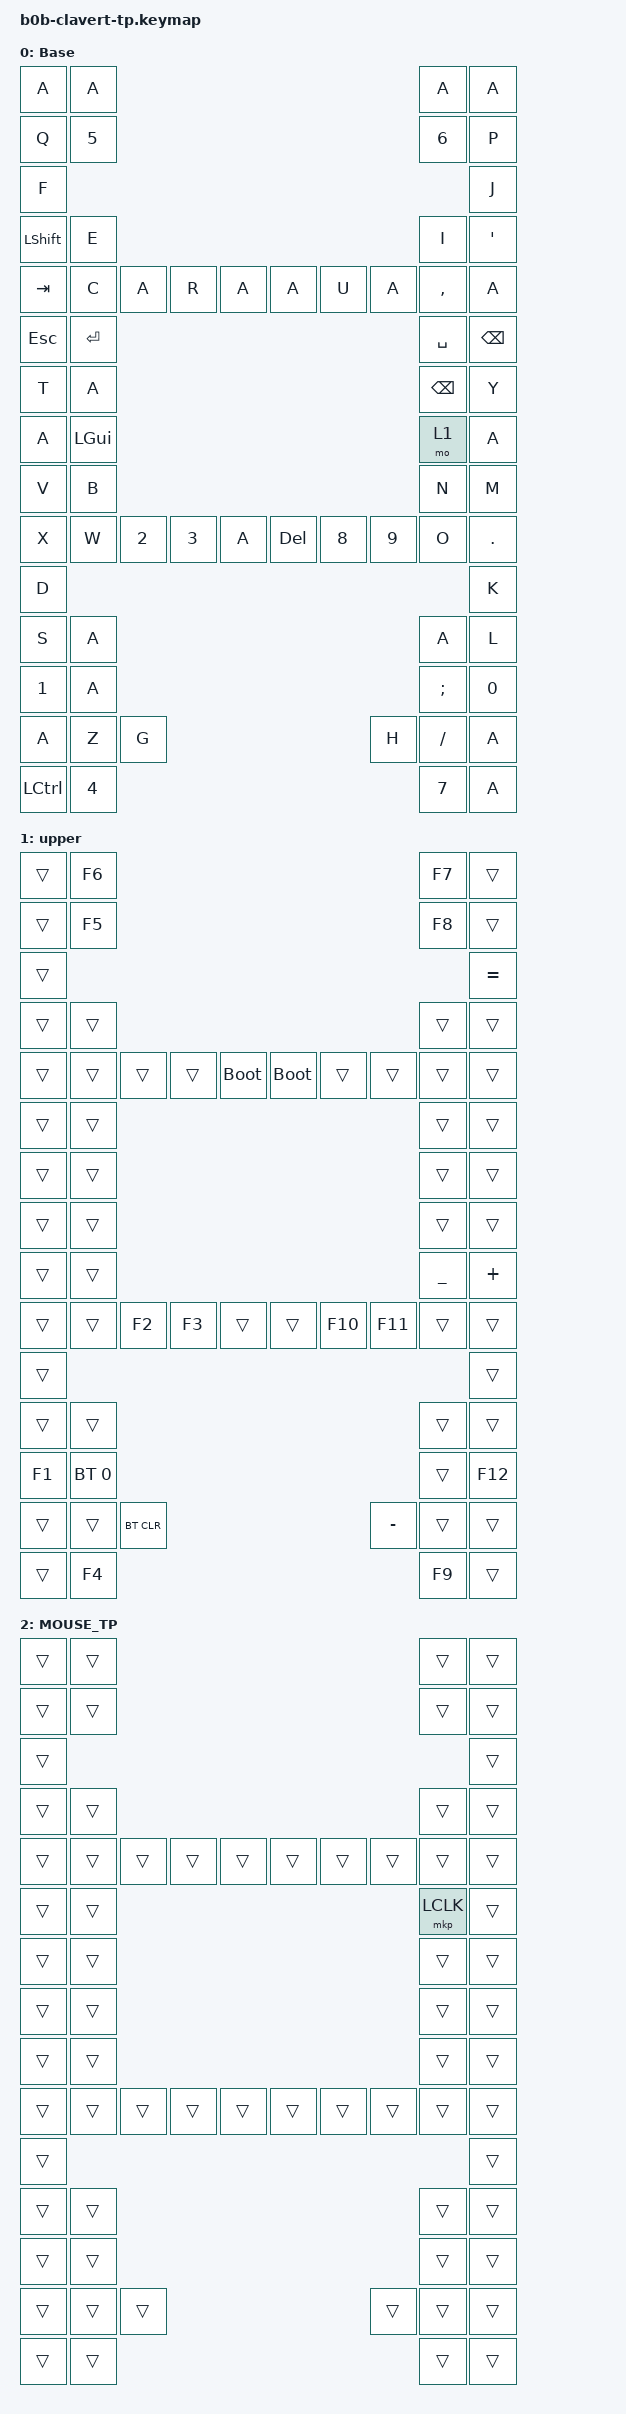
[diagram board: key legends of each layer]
/*
 * Copyright (c) 2020 The ZMK Contributors
 *
 * SPDX-License-Identifier: MIT
 */

#include <behaviors.dtsi>
#include <dt-bindings/zmk/keys.h>
#include <dt-bindings/zmk/bt.h>

#define BASE 0
#define LOWER 1
#define MOUSE_TP 2

/*
 * Defines to enable/disable features
 *
 * These defines allow us to conditionally enable and disable parts of the keymap config.
 *
 * For example, if we decide to build the firmware without the mouse features, we can
 * disable all the config options that rely on those forks and modules without having
 * to edit the entire keymap file manually every time.
 */

#define HAS_MOUSE_KEYS
#define HAS_MOUSE_TP

#ifdef HAS_MOUSE_KEYS
  #include <dt-bindings/zmk/mouse.h>
  #include <behaviors/mouse_keys.dtsi>
#endif  // HAS_MOUSE_KEYS

#ifdef HAS_MOUSE_TP
  // We store the trackpoint settings in a separate file
  // to make organization a little easier.
  #include "include/mouse_tp.dtsi"
#endif  // HAS_MOUSE_TP



// Adjust layer keys based on enabled features.
//
// This prevents build errors when we build the firmware
// without the mouse keys PR or the TP module.
#ifdef HAS_MOUSE_KEYS
  #define U_THUMB_INNER &mo MOUSE_KEYS
#else
  #define U_THUMB_INNER &none
#endif  // HAS_MOUSE_KEYS

#ifdef HAS_MOUSE_TP
  #define U_TOG_TP_SET &tog MOUSE_TP_SET
#else
  #define U_TOG_TP_SET &none
#endif  // HAS_MOUSE_TP

// Disable line-wrap in your editor to see a "visualization" of the key layouts
/ {

  keymap {
    compatible = "zmk,keymap";

    Base {
            display-name = "Base";
            bindings = <
&kp A           &kp A                                                           &kp A      &kp A
&kp Q           &kp N5                                                          &kp N6     &kp P
&kp F                                                                                      &kp J
&kp LEFT_SHIFT  &kp E                                                           &kp I      &kp SQT
&kp TAB         &kp C         &kp A   &kp R   &kp A    &kp A    &kp U   &kp A   &kp COMMA  &kp A
&kp ESCAPE      &kp RET                                                         &kp SPACE  &kp BACKSPACE
&kp T           &kp A                                                           &kp BSPC   &kp Y
&kp A           &kp LEFT_GUI                                                    &mo 1      &kp A
&kp V           &kp B                                                           &kp N      &kp M
&kp X           &kp W         &kp N2  &kp N3  &kp A    &kp DEL  &kp N8  &kp N9  &kp O      &kp DOT
&kp D                                                                                      &kp K
&kp S           &kp A                                                           &kp A      &kp L
&kp N1          &kp A                                                           &kp SEMI   &kp N0
&kp A           &kp Z         &kp G                                     &kp H   &kp FSLH   &kp A
&kp LCTRL       &kp NUMBER_4                                                    &kp N7     &kp A
            >;
        };


    upper {
            bindings = <
&trans  &kp F6                                                                            &kp F7     &trans
&trans  &kp F5                                                                            &kp F8     &trans
&trans                                                                                               &kp EQUAL
&trans  &trans                                                                            &trans     &trans
&trans  &trans        &trans      &trans  &bootloader    &bootloader  &trans   &trans     &trans     &trans
&trans  &trans                                                                            &trans     &trans
&trans  &trans                                                                            &trans     &trans
&trans  &trans                                                                            &trans     &trans
&trans  &trans                                                                            &kp UNDER  &kp PLUS
&trans  &trans        &kp F2      &kp F3  &trans         &trans       &kp F10  &kp F11    &trans     &trans
&trans                                                                                               &trans
&trans  &trans                                                                            &trans     &trans
&kp F1  &bt BT_SEL 0                                                                      &trans     &kp F12
&trans  &trans        &bt BT_CLR                                               &kp MINUS  &trans     &trans
&trans  &kp F4                                                                            &kp F9     &trans
            >;
        };


#ifdef HAS_MOUSE_TP

    // Automatically activated when the mouse or trackpoint moves.
    // Configured in `include/mouse_tp.dtsi`.
     MOUSE_TP {
            bindings = <
&trans  &trans                                                    &trans     &trans
&trans  &trans                                                    &trans     &trans
&trans                                                                       &trans
&trans  &trans                                                    &trans     &trans
&trans  &trans  &trans  &trans  &trans    &trans  &trans  &trans  &trans     &trans
&trans  &trans                                                    &mkp LCLK  &trans
&trans  &trans                                                    &trans     &trans
&trans  &trans                                                    &trans     &trans
&trans  &trans                                                    &trans     &trans
&trans  &trans  &trans  &trans  &trans    &trans  &trans  &trans  &trans     &trans
&trans                                                                       &trans
&trans  &trans                                                    &trans     &trans
&trans  &trans                                                    &trans     &trans
&trans  &trans  &trans                                    &trans  &trans     &trans
&trans  &trans                                                    &trans     &trans
            >;
        };

#endif
  };
};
